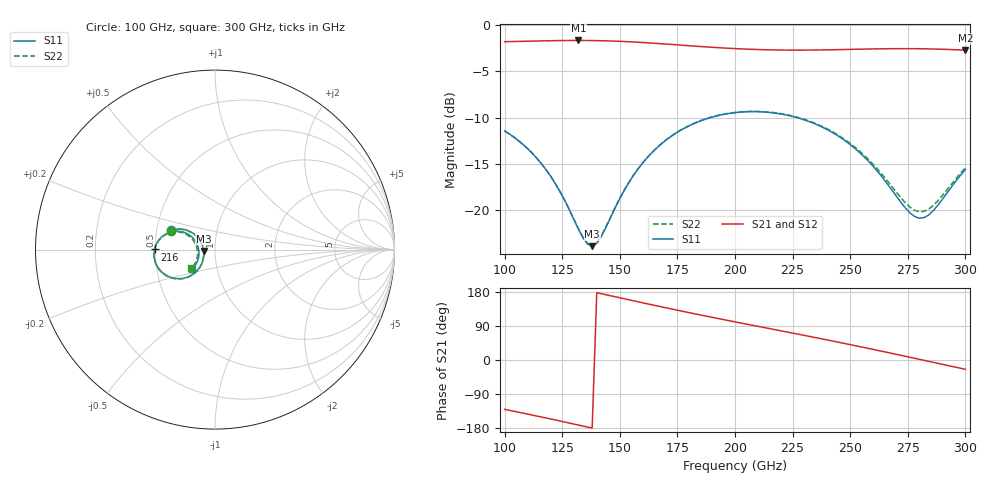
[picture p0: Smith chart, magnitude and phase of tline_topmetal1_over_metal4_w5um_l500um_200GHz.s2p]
#  GHZ S DB R 50
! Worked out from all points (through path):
!   101 points, 100 GHz to 300 GHz, reference 50 ohm
!   highest |S21| = -1.64 dB at 132 GHz (marker M1); lowest = -2.7 dB at 300 GHz (marker M2)
!   group delay of S21, straight-line fit = 3.5 ps
!   lowest |S11| = -23.9 dB at 138 GHz (marker M3), VSWR 1.14, Z = 44 - j0.739 ohm
!   |S11| at or under -10 dB: start of sweep to 189.2 GHz; 227 GHz to end of sweep
!   |S22| runs from -23.8 to -9.3 dB; largest |S21 - S12| = 9.5e-14
!   S11 on the Smith chart (normalised r, x): 100 GHz: 0.59, +0.14; 216 GHz: 0.50, +0.00; 300 GHz: 0.76, -0.17
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100  -11.43 156.4  -1.77 -130.2  -1.77 -130.2  -11.42 156.7
110  -13.36 148.0  -1.72 -142.8  -1.72 -142.8  -13.35 148.4
118  -15.64 143.8  -1.68 -153.1  -1.68 -153.1  -15.62 144.2
124  -17.99 144.1  -1.65 -161.0  -1.65 -161.0  -17.97 144.6
132  -22.05 157.6  -1.64 -171.6  -1.64 -171.6  -21.99 158.1
134  -23.00 165.6  -1.64 -174.3  -1.64 -174.3  -22.93 166.1
138  -23.91 -172.5  -1.65 -179.7  -1.65 -179.7  -23.82 -172.1
142  -22.85 -151.0  -1.67 174.9  -1.67 174.9  -22.78 -150.9
150  -18.75 -132.2  -1.74 164.2  -1.74 164.2  -18.72 -132.0
156  -16.22 -130.4  -1.81 156.1  -1.81 156.1  -16.20 -130.1
168  -12.84 -136.5  -1.99 140.4  -1.99 140.4  -12.82 -136.1
184  -10.45 -150.4  -2.28 120.1  -2.28 120.1  -10.43 -149.9
200  -9.46 -165.4  -2.52 100.7  -2.52 100.7  -9.43 -164.8
216  -9.46 179.8  -2.66 81.7  -2.66 81.7  -9.42 -179.4
234  -10.60 164.2  -2.68 60.2  -2.68 60.2  -10.53 165.3
252  -13.32 152.1  -2.60 38.1  -2.60 38.1  -13.18 153.8
260  -15.28 150.2  -2.56 27.9  -2.56 27.9  -15.06 152.2
268  -17.80 154.1  -2.53 17.6  -2.53 17.6  -17.43 156.3
276  -20.32 170.1  -2.53 7.1  -2.53 7.1  -19.69 171.3
282  -20.82 -169.4  -2.55 -0.8  -2.55 -0.8  -20.14 -170.1
288  -19.50 -151.6  -2.58 -8.7  -2.58 -8.7  -19.01 -153.8
300  -15.60 -139.6  -2.70 -24.5  -2.70 -24.5  -15.41 -141.6
